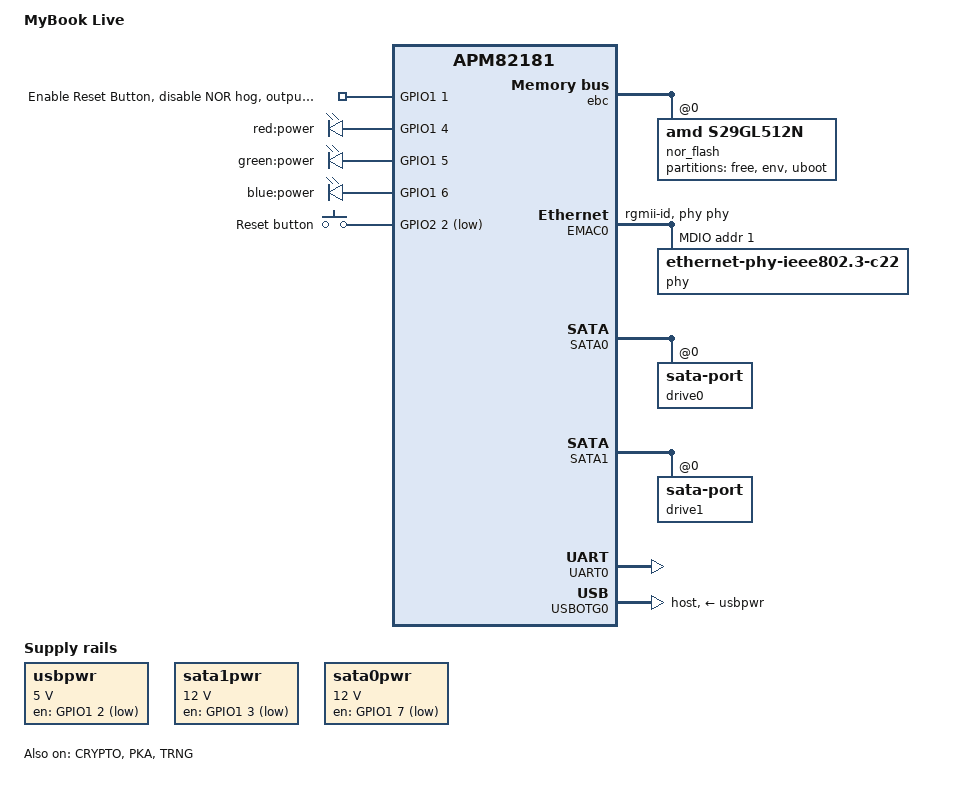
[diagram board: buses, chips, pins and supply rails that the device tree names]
// SPDX-License-Identifier: GPL-2.0-only
/*
 * Copyright 2008 DENX Software Engineering, Stefan Roese <sr@denx.de>
 * (c) Copyright 2010 Western Digital Technologies, Inc. All Rights Reserved.
 */

/dts-v1/;

#include "apm82181.dtsi"

/ {
	compatible = "wd,mybooklive", "amcc,apollo3g";
	model = "MyBook Live";

	aliases {
		serial0 = &UART0;
		led-boot = &status;
		led-failsafe = &status;
		led-running = &status;
		led-upgrade = &status;
	};
};

&POB0 {
	ebc {
		nor_flash@0,0 {
			status = "okay";
			compatible = "amd,s29gl512n", "jedec-probe", "cfi-flash", "mtd-rom";
			bank-width = <1>;
			reg = <0x00000000 0x00000000 0x00080000>;
			#address-cells = <1>;
			#size-cells = <1>;

			partition@0 {
				/* Part of bootrom - Don't use it without a jump */
				label = "free";
				reg = <0x00000000 0x0001e000>;
			};

			partition@1e000 {
				label = "env";
				reg = <0x0001e000 0x00002000>;
			};

			partition@20000 {
				label = "uboot";
				reg = <0x00020000 0x00050000>;
			};
		};
	};

	GPIO1: gpio@e0000000 {
		compatible = "wd,mbl-gpio", "ti,74273";
		reg-names = "dat";
		reg = <0xe0000000 0x1>;
		#gpio-cells = <2>;
		gpio-controller;

		enable-button {
			/* Defined in u-boot as: NOT_NOR
			 * "enables features other than NOR
			 * specifically, the buffer at CS2"
			 * (button).
			 *
			 * Note: This option is disabled as
			 * it prevents the system from being
			 * rebooted successfully.
			 */

			gpio-hog;
			line-name = "Enable Reset Button, disable NOR";
			gpios = <1 GPIO_ACTIVE_HIGH>;
			output-low;
		};
	};

	GPIO2: gpio@e0100000 {
		compatible = "wd,mbl-gpio", "ti,74244";
		reg-names = "dat";
		reg = <0xe0100000 0x1>;
		#gpio-cells = <2>;
		gpio-controller;
		no-output;
	};

	leds {
		compatible = "gpio-leds";

		failsafe: power-red {
			label = "red:power";
			gpios = <&GPIO1 4 GPIO_ACTIVE_HIGH>;
			linux,default-trigger = "panic";
		};

		status: power-green {
			label = "green:power";
			gpios = <&GPIO1 5 GPIO_ACTIVE_HIGH>;
		};

		power-blue {
			label = "blue:power";
			gpios = <&GPIO1 6 GPIO_ACTIVE_HIGH>;
			linux,default-trigger = "disk-activity";
		};
	};

	keys {
		compatible = "gpio-keys-polled";
		poll-interval = <60>;	/* 3 * 20 = 60ms */
		autorepeat;

		reset-button {
			label = "Reset button";
			linux,code = <KEY_RESTART>;
			gpios = <&GPIO2 2 GPIO_ACTIVE_LOW>;
		};
	};

	usbpwr: usb-regulator {
		compatible = "regulator-fixed";
		regulator-name = "Power USB Core";
		gpios = <&GPIO1 2 GPIO_ACTIVE_LOW>;
		regulator-min-microvolt = <5000000>;
		regulator-max-microvolt = <5000000>;
	};

	sata1pwr: sata1-regulator {
		compatible = "regulator-fixed";
		regulator-name = "Power Drive Port 1";
		gpios = <&GPIO1 3 GPIO_ACTIVE_LOW>;
		regulator-min-microvolt = <12000000>;
		regulator-max-microvolt = <12000000>;
		regulator-always-on; /* needed to read OS from HDD */
	};

	sata0pwr: sata0-regulator {
		compatible = "regulator-fixed";
		regulator-name = "Power Drive Port 0";
		gpios = <&GPIO1 7 GPIO_ACTIVE_LOW>;
		regulator-min-microvolt = <12000000>;
		regulator-max-microvolt = <12000000>;
		regulator-always-on; /* needed to read OS from HDD */
	};
};

&EMAC0 {
	status = "okay";

	phy-map = <0x2>;
	phy-address = <0x1>;
	phy-handle = <&phy>;
	phy-mode = "rgmii-id";

	mdio {
		#address-cells = <1>;
		#size-cells = <0>;
		reset-gpios = <&GPIO1 0 GPIO_ACTIVE_LOW>;

		phy: phy@1 {
			compatible = "ethernet-phy-ieee802.3-c22";
			reg = <1>;
		};
	};
};

&CRYPTO {
	status = "okay";
};

&PKA {
	status = "okay";
};

&TRNG {
	status = "okay";
};

&SATA0 {
	status = "okay";

	drive0: sata-port@0 {
		reg = <0>;
		#thermal-sensor-cells = <0>;
	};
};

&SATA1 {
	status = "okay";

	drive1: sata-port@0 {
		reg = <0>;
		#thermal-sensor-cells = <0>;
	};
};

&UART0 {
	status = "okay";
};

&USBOTG0 {
	status = "okay";
	dr_mode = "host";
	vbus-supply = <&usbpwr>;
};
